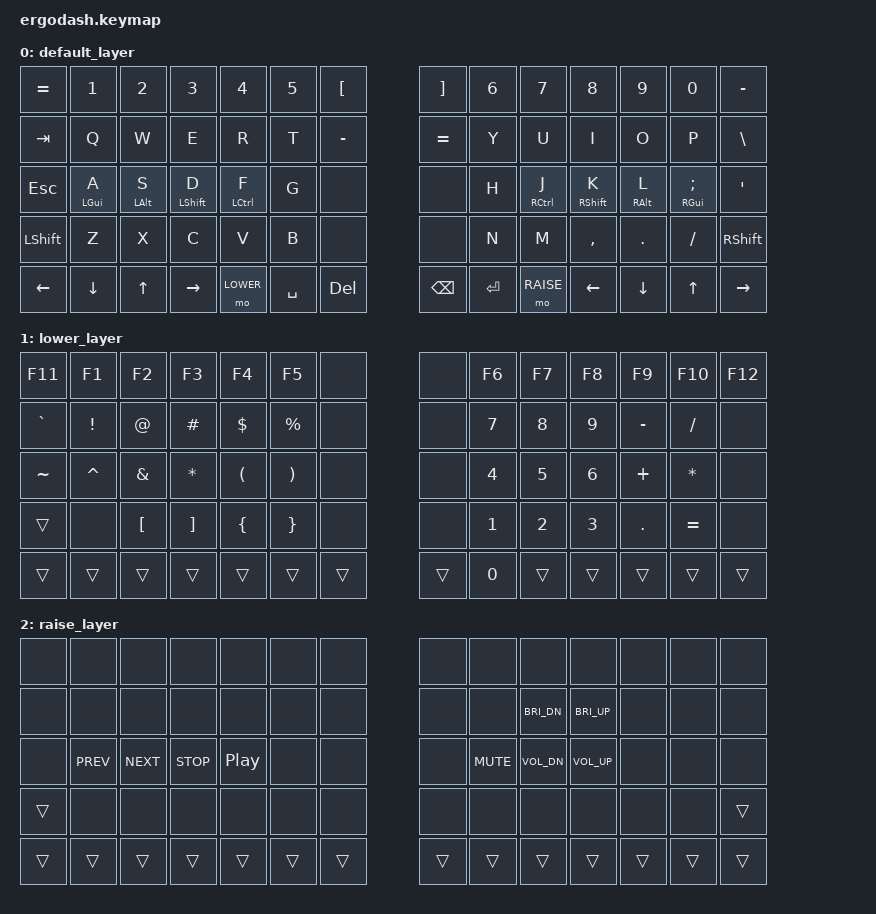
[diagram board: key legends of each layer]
/*
 * Copyright (c) 2020 The ZMK Contributors
 *
 * SPDX-License-Identifier: MIT
 */

#include <behaviors.dtsi>
#include <dt-bindings/zmk/keys.h>

#define DEFAULT 0
#define LOWER   1
#define RAISE   2

&mt {
    quick-tap-ms = <150>;
    flavor = "tap-preferred";
};

/ {
    keymap {
        compatible = "zmk,keymap";

        default_layer {
            bindings = <
&kp EQUAL  &kp N1      &kp N2      &kp N3        &kp N4       &kp N5  &kp LBKT                      &kp RBKT   &kp N6  &kp N7       &kp N8       &kp N9      &kp N0              &kp MINUS
&kp TAB    &kp Q       &kp W       &kp E         &kp R        &kp T   &kp MINUS                     &kp EQUAL  &kp Y   &kp U        &kp I        &kp O       &kp P               &kp BSLH
&kp ESC    &mt LGUI A  &mt LALT S  &mt LSHIFT D  &mt LCTRL F  &kp G   &none                         &none      &kp H   &mt RCTRL J  &mt RSHFT K  &mt RALT L  &mt RGUI SEMICOLON  &kp SQT
&kp LSHFT  &kp Z       &kp X       &kp C         &kp V        &kp B              &none    &none                &kp N   &kp M        &kp COMMA    &kp DOT     &kp SLASH           &kp RSHIFT
&kp LEFT   &kp DOWN    &kp UP      &kp RIGHT     &mo LOWER            &kp SPACE  &kp DEL  &kp BSPC  &kp RET            &mo RAISE    &kp LEFT     &kp DOWN    &kp UP              &kp RIGHT
            >;
        };

        lower_layer {
            bindings = <
&kp F11    &kp F1     &kp F2            &kp F3             &kp F4          &kp F5                 &none                   &none   &kp F6        &kp F7  &kp F8  &kp F9     &kp F10       &kp F12
&kp GRAVE  &kp EXCL   &kp AT            &kp HASH           &kp DOLLAR      &kp PERCENT            &none                   &none   &kp N7        &kp N8  &kp N9  &kp MINUS  &kp SLASH     &none
&kp TILDE  &kp CARET  &kp AMPERSAND     &kp ASTERISK       &kp LPAR        &kp RIGHT_PARENTHESIS  &none                   &none   &kp NUMBER_4  &kp N5  &kp N6  &kp PLUS   &kp ASTERISK  &none
&trans     &none      &kp LEFT_BRACKET  &kp RIGHT_BRACKET  &kp LEFT_BRACE  &kp RIGHT_BRACE                &none   &none           &kp N1        &kp N2  &kp N3  &kp DOT    &kp EQUAL     &none
&trans     &trans     &trans            &trans             &trans                                 &trans  &trans  &trans  &kp N0                &trans  &trans  &trans     &trans        &trans
            >;
        };

        raise_layer {
            bindings = <
&none   &none       &none       &none       &none     &none  &none                   &none   &none       &none         &none         &none   &none   &none
&none   &none       &none       &none       &none     &none  &none                   &none   &none       &kp C_BRI_DN  &kp C_BRI_UP  &none   &none   &none
&none   &kp C_PREV  &kp C_NEXT  &kp C_STOP  &kp C_PP  &none  &none                   &none   &kp K_MUTE  &kp C_VOL_DN  &kp C_VOL_UP  &none   &none   &none
&trans  &none       &none       &none       &none     &none          &none   &none           &none       &none         &none         &none   &none   &trans
&trans  &trans      &trans      &trans      &trans           &trans  &trans  &trans  &trans              &trans        &trans        &trans  &trans  &trans
            >;
        };
    };
};
